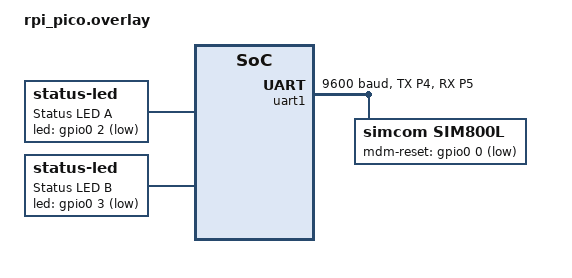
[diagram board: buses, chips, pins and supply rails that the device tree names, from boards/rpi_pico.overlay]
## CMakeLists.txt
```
# Copyright (c) 2025 Blue Vending
# SPDX-License-Identifier: Apache-2.0

cmake_minimum_required(VERSION 3.20.0)

find_package(Zephyr REQUIRED HINTS $ENV{ZEPHYR_BASE})
project(modem_test)

target_sources(app PRIVATE src/main.c)
```

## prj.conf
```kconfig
# SPDX-License-Identifier: Apache-2.0
# Copyright (c) 2025 Blue Vending

# Debug Configuration
CONFIG_NO_OPTIMIZATIONS=y

CONFIG_MAIN_STACK_SIZE=4096
CONFIG_NET_SOCKETS_SERVICE_STACK_SIZE=2048
#CONFIG_SHELL=y

# Logging Configuration
# Set to 3 (INFO) instead of 4 (DEBUG) to reduce log verbosity
CONFIG_MODEM_LOG_LEVEL_DBG=n
CONFIG_MODEM_SIM800L_LOG_LEVEL=4

# GPIO support
CONFIG_GPIO=y

# Networking
CONFIG_NETWORKING=y
CONFIG_NET_SOCKETS=y
CONFIG_NET_SOCKETS_OFFLOAD=y


# DNS
CONFIG_DNS_RESOLVER=y
CONFIG_NET_L2_PPP=y
CONFIG_NET_L2_PPP_OPTION_DNS_USE=y

# Modem driver
CONFIG_MODEM=y
CONFIG_MODEM_SHELL=y
CONFIG_PM_DEVICE=y

# SIM800L specific driver
CONFIG_MODEM_SHELL=y
CONFIG_MODEM_SIM800L=y
CONFIG_MODEM_IFACE_UART=y
CONFIG_TEST_RANDOM_GENERATOR=y


CONFIG_DEBUG=y

CONFIG_FAULT_DUMP=2
CONFIG_EXTRA_EXCEPTION_INFO=y

CONFIG_MODEM_CONTEXT_VERBOSE_DEBUG=y
CONFIG_STACK_SENTINEL=y
CONFIG_MODEM_AT_SHELL=y
CONFIG_MODEM_SIM800L_APN="VIVACOM"
```

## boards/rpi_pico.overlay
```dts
/* SPDX-License-Identifier: Apache-2.0
 * Copyright (c) 2025 Blue Vending
 *
 * Device tree overlay for Status LED Sample on Raspberry Pi Pico
 * - Maps Green LED to GP2 and Red LED to GP3
 */

/ {
	aliases {
		modem = &sim800l;
	};

    	status_led_a: status_led_a {
        	compatible = "status-led";
        	status = "okay";
        	led-gpios = <&gpio0 2 GPIO_ACTIVE_LOW>;
        	label = "Status LED A";
    	};

    	status_led_b: status_led_b {
        	compatible = "status-led";
		status = "okay";
		led-gpios = <&gpio0 3 GPIO_ACTIVE_LOW>;
		label = "Status LED B";
	};
};

&pinctrl {
	uart1_default: uart1_default {
		group1 {
			pinmux = <UART1_TX_P4>;
		};
		group2 {
			pinmux = <UART1_RX_P5>;
			input-enable;
		};
	};
};

&uart1 {
	current-speed = <9600>;
	pinctrl-0 = <&uart1_default>;
	pinctrl-names = "default";
	status = "okay";

    	sim800l: sim800l {
        	compatible = "simcom,sim800l";
        	mdm-reset-gpios = <&gpio0 0 GPIO_ACTIVE_LOW>;
		status = "okay";
    	};
};
```

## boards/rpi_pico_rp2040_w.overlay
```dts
/* SPDX-License-Identifier: Apache-2.0
 * Copyright (c) 2025 Blue Vending
 *
 * Device tree overlay for Status LED Sample on Raspberry Pi Pico
 * - Maps Green LED to GP2 and Red LED to GP3
 */

/ {
	aliases {
		modem = &sim800l;
	};

	status_led_a: status_led_a {
		compatible = "status-led";
		status = "okay";
		led-gpios = <&gpio0 2 GPIO_ACTIVE_LOW>;
		label = "Status LED A";
	};

	status_led_b: status_led_b {
		compatible = "status-led";
		status = "okay";
		led-gpios = <&gpio0 3 GPIO_ACTIVE_LOW>;
		label = "Status LED B";
	};
};

&pinctrl {
	uart1_default: uart1_default {
		group1 {
			pinmux = <UART1_TX_P4>;
		};
		group2 {
			pinmux = <UART1_RX_P5>;
			input-enable;
		};
	};
};

&uart1 {
	current-speed = <9600>;
	pinctrl-0 = <&uart1_default>;
	pinctrl-names = "default";
	status = "okay";

	sim800l: sim800l {
		compatible = "simcom,sim800l";
		mdm-reset-gpios = <&gpio0 0 GPIO_ACTIVE_LOW>;
		status = "okay";
	};
};
```

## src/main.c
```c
// SPDX-License-Identifier: Apache-2.0
/*
 * Copyright (c) 2025 Blue Vending
 * Simcom SIM800L modem sample application
 */

#include <zephyr/device.h>
#include <zephyr/kernel.h>
#include <zephyr/pm/device.h>
#include <zephyr/logging/log.h>
#include <zephyr/net/socket.h>

LOG_MODULE_REGISTER(sim800l_test, LOG_LEVEL_DBG);

const struct device *modem = DEVICE_DT_GET(DT_ALIAS(modem));

/* Simple HTTP GET request test */
static int test_http_get(void)
{
	int sock;
	int ret;
	struct sockaddr_in addr;
	char request[] = "12345678910\n";
	char response[512];

	LOG_INF("Testing HTTP GET...");

	/* Create TCP socket */
	sock = zsock_socket(AF_INET, SOCK_STREAM, IPPROTO_TCP);
	if (sock < 0) {
		LOG_ERR("Failed to create socket: %d", errno);
		return -1;
	}
	LOG_INF("Socket created: %d", sock);

	/* Connect to tcpbin.com:4242 */

	memset(&addr, 0, sizeof(addr));
	addr.sin_family = AF_INET;
	addr.sin_port = htons(4242);
	/* tcpbin.com IP - you may need to update this */
	zsock_inet_pton(AF_INET, "45.79.112.203", &addr.sin_addr);

	LOG_INF("Connecting to tcpbin.com:4242...");
	ret = zsock_connect(sock, (struct sockaddr *)&addr, sizeof(addr));
	if (ret < 0) {
		LOG_ERR("Failed to connect: %d", errno);
		zsock_close(sock);
		return -1;
	}
	LOG_INF("Connected successfully!");

	/* Send HTTP request */
	LOG_INF("Sending HTTP request...");
	ret = zsock_send(sock, request, strlen(request), 0);
	if (ret < 0) {
		LOG_ERR("Failed to send: %d", errno);
		zsock_close(sock);
		return -1;
	}
	LOG_INF("Sent %d bytes", ret);

	/* Receive response */
	LOG_INF("Waiting for response...");
	ret = zsock_recv(sock, response, sizeof(response) - 1, 0);
	if (ret < 0) {
		LOG_ERR("Failed to receive: %d", errno);
		zsock_close(sock);
		return -1;
	}

	response[ret] = '\0';
	LOG_INF("Received %d bytes:", ret);
	LOG_INF("%s", response);

	/* Close socket */
	zsock_close(sock);
	LOG_INF("Socket closed");
	/* Compare sent and received data */
	if (ret != strlen(request) || memcmp(request, response, ret) != 0) {
		LOG_ERR("Data mismatch!");
		return -1;
	}
	return 0;
}

/* Simple socket creation test */
static int test_socket_create(void)
{
	int sock;

	LOG_INF("Testing socket creation...");

	/* Create TCP socket */
	sock = zsock_socket(AF_INET, SOCK_STREAM, IPPROTO_TCP);
	if (sock < 0) {
		LOG_ERR("Failed to create TCP socket: %d", errno);
		return -1;
	}
	LOG_INF("TCP socket created: %d", sock);
	zsock_close(sock);

	/* Create UDP socket */
	sock = zsock_socket(AF_INET, SOCK_DGRAM, IPPROTO_UDP);
	if (sock < 0) {
		LOG_ERR("Failed to create UDP socket: %d", errno);
		return -1;
	}
	LOG_INF("UDP socket created: %d", sock);
	zsock_close(sock);

	LOG_INF("Socket creation test PASSED");
	return 0;
}

int main(void)
{

	int ret;

	LOG_INF("SIM800L Modem Driver Test");

	/* Resume modem device (power on) */
	pm_device_action_run(modem, PM_DEVICE_ACTION_RESUME);
	/* Check if modem device is ready */
	if (!device_is_ready(modem)) {
		LOG_ERR("Modem device not ready!");
		return -1;
	}
	LOG_INF("Modem device is ready");

	// /* Test 1: Socket creation */
	// ret = test_socket_create();
	// if (ret < 0) {
	// 	LOG_ERR("Socket creation test FAILED");
	// }

	k_sleep(K_SECONDS(2));

	/* Test 2: HTTP GET (comment out if no internet connection) */
	ret = test_http_get();
	if (ret < 0) {
		LOG_ERR("HTTP GET test FAILED");
	} else {
		LOG_INF("HTTP GET test PASSED");
	}

	LOG_INF("\n=== Test completed ===\n");

	/* Keep running */
	while (1) {
		k_sleep(K_SECONDS(30));
	}

	return 0;
}
```
